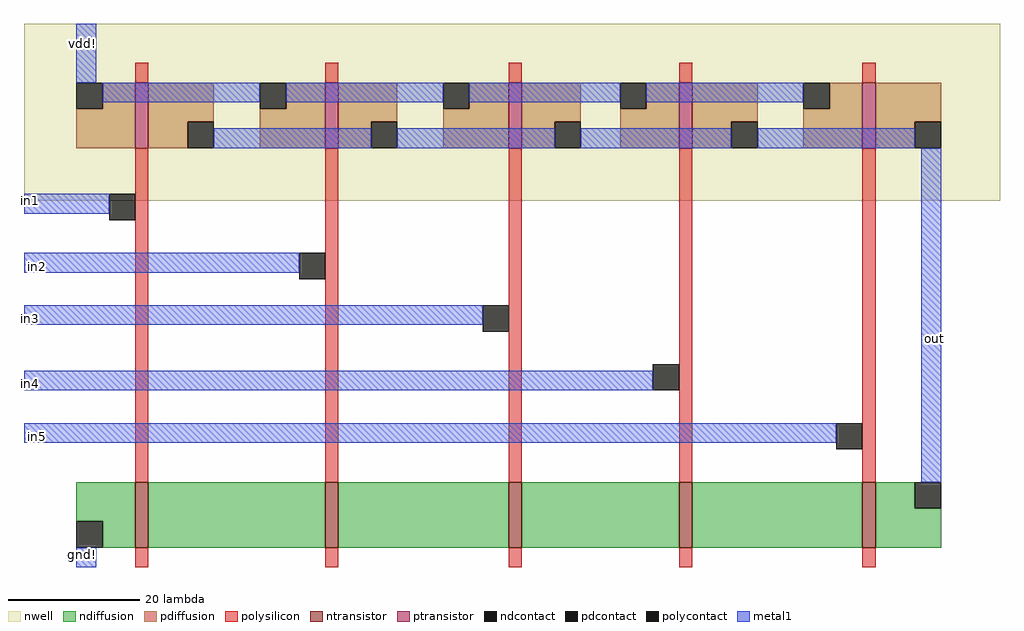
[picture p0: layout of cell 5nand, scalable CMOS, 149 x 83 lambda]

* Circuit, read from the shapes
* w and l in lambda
.subckt 5nand gnd! in1 in2 in3 in4 in5 out vdd!
M1 n1 in1 gnd! VSUBS nfet w=10 l=2
M2 n2 in2 n1 VSUBS nfet w=10 l=2
M3 n3 in3 n2 VSUBS nfet w=10 l=2
M4 n4 in4 n3 VSUBS nfet w=10 l=2
M5 out in5 n4 VSUBS nfet w=10 l=2
M6 out in1 vdd! n5 pfet w=10 l=2
M7 out in2 vdd! n5 pfet w=10 l=2
M8 out in3 vdd! n5 pfet w=10 l=2
M9 out in4 vdd! n5 pfet w=10 l=2
M10 out in5 vdd! n5 pfet w=10 l=2
.ends

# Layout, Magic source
magic
tech scmos
<< nwell >>
rect -48 10 101 37
<< ntransistor >>
rect -31 -43 -29 -33
rect -2 -43 0 -33
rect 26 -43 28 -33
rect 52 -43 54 -33
rect 80 -43 82 -33
<< ptransistor >>
rect -31 18 -29 28
rect -2 18 0 28
rect 26 18 28 28
rect 52 18 54 28
rect 80 18 82 28
<< ndiffusion >>
rect -40 -39 -31 -33
rect -36 -43 -31 -39
rect -29 -43 -2 -33
rect 0 -43 26 -33
rect 28 -43 52 -33
rect 54 -43 80 -33
rect 82 -37 88 -33
rect 82 -43 92 -37
<< pdiffusion >>
rect -36 24 -31 28
rect -40 18 -31 24
rect -29 22 -19 28
rect -29 18 -23 22
rect -8 24 -2 28
rect -12 18 -2 24
rect 0 22 9 28
rect 0 18 5 22
rect 20 24 26 28
rect 16 18 26 24
rect 28 22 37 28
rect 28 18 33 22
rect 47 24 52 28
rect 43 18 52 24
rect 54 22 64 28
rect 54 18 60 22
rect 75 24 80 28
rect 71 18 80 24
rect 82 22 92 28
rect 82 18 88 22
<< ndcontact >>
rect -40 -43 -36 -39
rect 88 -37 92 -33
<< pdcontact >>
rect -40 24 -36 28
rect -23 18 -19 22
rect -12 24 -8 28
rect 5 18 9 22
rect 16 24 20 28
rect 33 18 37 22
rect 43 24 47 28
rect 60 18 64 22
rect 71 24 75 28
rect 88 18 92 22
<< polysilicon >>
rect -31 28 -29 31
rect -2 28 0 31
rect 26 28 28 31
rect 52 28 54 31
rect 80 28 82 31
rect -31 -33 -29 18
rect -2 -33 0 18
rect 26 -33 28 18
rect 52 -33 54 18
rect 80 -33 82 18
rect -31 -46 -29 -43
rect -2 -46 0 -43
rect 26 -46 28 -43
rect 52 -46 54 -43
rect 80 -46 82 -43
<< polycontact >>
rect -35 7 -31 11
rect -6 -2 -2 2
rect 22 -10 26 -6
rect 48 -19 52 -15
rect 76 -28 80 -24
<< metal1 >>
rect -40 28 -37 37
rect -36 25 -12 28
rect -8 25 16 28
rect 20 25 43 28
rect 47 25 71 28
rect -19 18 5 21
rect 9 18 33 21
rect 37 18 60 21
rect 64 18 88 21
rect -48 8 -35 11
rect -48 -1 -6 2
rect -48 -9 22 -6
rect -48 -19 48 -16
rect -48 -27 76 -24
rect 89 -33 92 18
rect -40 -46 -37 -43
<< labels >>
rlabel metal1 -39 34 -39 34 5 vdd!
rlabel metal1 -39 -44 -39 -44 1 gnd!
rlabel metal1 91 -11 91 -11 1 out
rlabel metal1 -47 10 -47 10 3 in1
rlabel metal1 -46 0 -46 0 3 in2
rlabel metal1 -47 -8 -47 -8 3 in3
rlabel metal1 -47 -18 -47 -18 3 in4
rlabel metal1 -46 -26 -46 -26 3 in5
<< end >>
